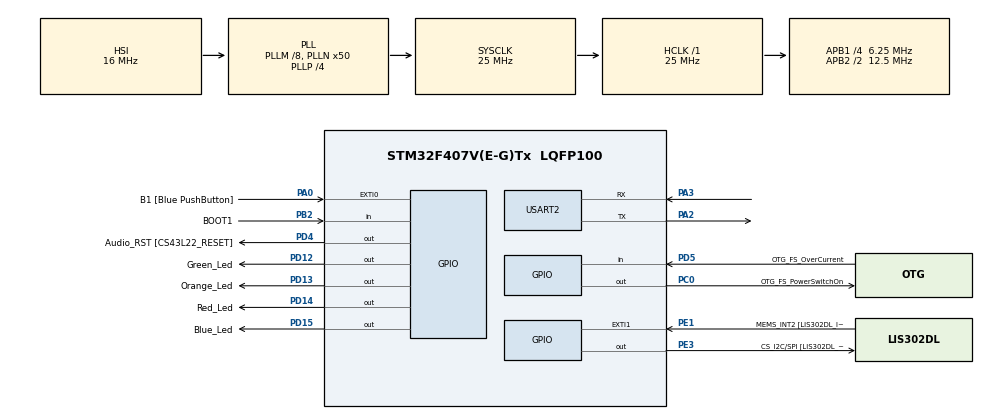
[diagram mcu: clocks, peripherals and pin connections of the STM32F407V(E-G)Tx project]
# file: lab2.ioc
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Mcu.Family=STM32F4
Mcu.Name=STM32F407V(E-G)Tx
Mcu.Package=LQFP100
NVIC.PriorityGroup=NVIC_PRIORITYGROUP_4
NVIC.TIM7_IRQn=true\:0\:0\:false\:false\:true\:false\:true\:true
NVIC.TimeBase=TIM7_IRQn
NVIC.TimeBaseIP=TIM7
PA0-WKUP.GPIO_Label=B1 [Blue PushButton]
PA0-WKUP.Signal=GPXTI0
PA10.GPIO_Label=OTG_FS_ID
PA10.GPIO_Mode=GPIO_MODE_AF_PP
PA10.GPIO_PuPd=GPIO_NOPULL
PA10.GPIO_Speed=GPIO_SPEED_FREQ_LOW
PA10.Signal=USB_OTG_FS_ID
PA11.GPIO_Label=OTG_FS_DM
PA11.GPIO_Mode=GPIO_MODE_AF_PP
PA11.GPIO_PuPd=GPIO_NOPULL
PA11.GPIO_Speed=GPIO_SPEED_FREQ_LOW
PA11.Signal=USB_OTG_FS_DM
PA12.GPIO_Label=OTG_FS_DP
PA12.GPIO_Mode=GPIO_MODE_AF_PP
PA12.GPIO_PuPd=GPIO_NOPULL
PA12.GPIO_Speed=GPIO_SPEED_FREQ_LOW
PA12.Signal=USB_OTG_FS_DP
PA13.GPIO_Label=SWDIO
PA13.Mode=Serial_Wire
PA13.Signal=SYS_JTMS-SWDIO
PA14.GPIO_Label=SWCLK
PA14.Mode=Serial_Wire
PA14.Signal=SYS_JTCK-SWCLK
PA2.Mode=Asynchronous
PA2.Signal=USART2_TX
PA3.Mode=Asynchronous
PA3.Signal=USART2_RX
PA4.GPIO_Label=I2S3_WS [CS43L22_LRCK]
PA4.GPIO_Mode=GPIO_MODE_AF_PP
PA4.GPIO_PuPd=GPIO_NOPULL
PA4.GPIO_Speed=GPIO_SPEED_FREQ_LOW
PA4.Signal=I2S3_WS
PA5.GPIO_Label=SPI1_SCK [LIS302DL_SCL/SPC]
PA5.GPIO_Mode=GPIO_MODE_AF_PP
PA5.GPIO_PuPd=GPIO_NOPULL
PA5.GPIO_Speed=GPIO_SPEED_FREQ_LOW
PA5.Signal=SPI1_SCK
PA6.GPIO_Label=SPI1_MISO [LIS302DL_SDO]
PA6.GPIO_Mode=GPIO_MODE_AF_PP
PA6.GPIO_PuPd=GPIO_NOPULL
PA6.GPIO_Speed=GPIO_SPEED_FREQ_LOW
PA6.Signal=SPI1_MISO
PA7.GPIO_Label=SPI1_MOSI [LIS302DL_SDA/SDI/SDO]
PA7.GPIO_Mode=GPIO_MODE_AF_PP
PA7.GPIO_PuPd=GPIO_NOPULL
PA7.GPIO_Speed=GPIO_SPEED_FREQ_LOW
PA7.Signal=SPI1_MOSI
PA9.GPIO_Label=VBUS_FS
PA9.GPIO_Mode=GPIO_MODE_INPUT
PA9.GPIO_PuPd=GPIO_NOPULL
PA9.Signal=USB_OTG_FS_VBUS
PB10.GPIO_Label=CLK_IN [MP45DT02_CLK]
PB10.GPIO_Mode=GPIO_MODE_AF_PP
PB10.GPIO_PuPd=GPIO_NOPULL
PB10.GPIO_Speed=GPIO_SPEED_FREQ_LOW
PB10.Signal=I2S2_CK
PB2.GPIO_Label=BOOT1
PB2.GPIO_Mode=GPIO_MODE_INPUT
PB2.GPIO_PuPd=GPIO_NOPULL
PB2.Signal=GPIO_Input
PB3.GPIO_Label=SWO
PB3.Signal=SYS_JTDO-SWO
PB6.GPIO_Label=Audio_SCL [CS43L22_SCL]
PB6.GPIO_Mode=GPIO_MODE_AF_OD
PB6.GPIO_PuPd=GPIO_NOPULL
PB6.GPIO_Speed=GPIO_SPEED_FREQ_LOW
PB6.Signal=I2C1_SCL
PB9.GPIO_Label=Audio_SDA [CS43L22_SDA]
PB9.GPIO_Mode=GPIO_MODE_AF_OD
PB9.GPIO_PuPd=GPIO_NOPULL
PB9.GPIO_Speed=GPIO_SPEED_FREQ_LOW
PB9.Signal=I2C1_SDA
PC0.GPIO_Label=OTG_FS_PowerSwitchOn
PC0.GPIO_PuPd=GPIO_NOPULL
PC0.GPIO_Speed=GPIO_SPEED_FREQ_LOW
PC0.PinState=GPIO_PIN_SET
PC0.Signal=GPIO_Output
PC10.GPIO_Label=I2S3_SCK [CS43L22_SCLK]
PC10.GPIO_Mode=GPIO_MODE_AF_PP
PC10.GPIO_PuPd=GPIO_NOPULL
PC10.GPIO_Speed=GPIO_SPEED_FREQ_LOW
PC10.Signal=I2S3_CK
PC12.GPIO_Label=I2S3_SD [CS43L22_SDIN]
PC12.GPIO_Mode=GPIO_MODE_AF_PP
PC12.GPIO_PuPd=GPIO_NOPULL
PC12.GPIO_Speed=GPIO_SPEED_FREQ_LOW
PC12.Signal=I2S3_SD
PC14-OSC32_IN.GPIO_Label=PC14-OSC32_IN
PC14-OSC32_IN.Signal=RCC_OSC32_IN
PC15-OSC32_OUT.GPIO_Label=PC15-OSC32_OUT
PC15-OSC32_OUT.Signal=RCC_OSC32_OUT
PC3.GPIO_Label=PDM_OUT [MP45DT02_DOUT]
PC3.GPIO_Mode=GPIO_MODE_AF_PP
PC3.GPIO_PuPd=GPIO_NOPULL
PC3.GPIO_Speed=GPIO_SPEED_FREQ_LOW
PC3.Signal=I2S2_SD
PC7.GPIO_Label=I2S3_MCK [CS43L22_MCLK]
PC7.GPIO_Mode=GPIO_MODE_AF_PP
PC7.GPIO_PuPd=GPIO_NOPULL
PC7.GPIO_Speed=GPIO_SPEED_FREQ_LOW
PC7.Signal=I2S3_MCK
PD12.GPIO_Label=Green_Led
PD12.GPIO_PuPd=GPIO_NOPULL
PD12.GPIO_Speed=GPIO_SPEED_FREQ_LOW
PD12.Signal=GPIO_Output
PD13.GPIO_Label=Orange_Led
PD13.GPIO_PuPd=GPIO_NOPULL
PD13.GPIO_Speed=GPIO_SPEED_FREQ_LOW
PD13.Signal=GPIO_Output
PD14.GPIO_Label=Red_Led
PD14.GPIO_PuPd=GPIO_NOPULL
PD14.GPIO_Speed=GPIO_SPEED_FREQ_LOW
PD14.Signal=GPIO_Output
PD15.GPIO_Label=Blue_Led
PD15.GPIO_PuPd=GPIO_NOPULL
PD15.GPIO_Speed=GPIO_SPEED_FREQ_LOW
PD15.Signal=GPIO_Output
PD4.GPIO_Label=Audio_RST [CS43L22_RESET]
PD4.GPIO_PuPd=GPIO_NOPULL
PD4.GPIO_Speed=GPIO_SPEED_FREQ_LOW
PD4.Signal=GPIO_Output
PD5.GPIO_Label=OTG_FS_OverCurrent
PD5.GPIO_Mode=GPIO_MODE_INPUT
PD5.GPIO_PuPd=GPIO_NOPULL
PD5.Signal=GPIO_Input
PE1.GPIO_Label=MEMS_INT2 [LIS302DL_INT2]
PE1.GPIO_ModeDefaultEXTI=GPIO_MODE_EVT_RISING
PE1.GPIO_PuPd=GPIO_NOPULL
PE1.Signal=GPXTI1
PE3.GPIO_Label=CS_I2C/SPI [LIS302DL_CS_I2C/SPI]
PE3.GPIO_PuPd=GPIO_NOPULL
PE3.GPIO_Speed=GPIO_SPEED_FREQ_LOW
PE3.Signal=GPIO_Output
PH0-OSC_IN.GPIO_Label=PH0-OSC_IN
PH0-OSC_IN.Signal=RCC_OSC_IN
PH1-OSC_OUT.GPIO_Label=PH1-OSC_OUT
PH1-OSC_OUT.Signal=RCC_OSC_OUT
ProjectManager.HeapSize=0x200
ProjectManager.StackSize=0x400
ProjectManager.TargetToolchain=STM32CubeIDE
RCC.48MHZClocksFreq_Value=14285714.285714285
RCC.AHBFreq_Value=25000000
RCC.APB1CLKDivider=RCC_HCLK_DIV4
RCC.APB1Freq_Value=6250000
RCC.APB1TimFreq_Value=12500000
RCC.APB2CLKDivider=RCC_HCLK_DIV2
RCC.APB2Freq_Value=12500000
RCC.APB2TimFreq_Value=25000000
RCC.CortexFreq_Value=25000000
RCC.HCLKFreq_Value=25000000
RCC.HSE_VALUE=8000000
RCC.HSI_VALUE=16000000
RCC.LSE_VALUE=32768
RCC.PLLM=8
RCC.PLLN=50
RCC.PLLP=RCC_PLLP_DIV4
RCC.PLLQ=7
RCC.SYSCLKFreq_VALUE=25000000
RCC.SYSCLKSource=RCC_SYSCLKSOURCE_PLLCLK
RCC.VCOOutputFreq_Value=100000000
USART2.VirtualMode=VM_ASYNC
VP_SYS_VS_tim7.Mode=TIM7
board=STM32F407G-DISC1

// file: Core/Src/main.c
/* USER CODE BEGIN Header */
/**
  ******************************************************************************
  * @file           : main.c
  * @brief          : Main program body
  ******************************************************************************
  * @attention
  *
  * Copyright (c) 2025 STMicroelectronics.
  * All rights reserved.
  *
  * This software is licensed under terms that can be found in the LICENSE file
  * in the root directory of this software component.
  * If no LICENSE file comes with this software, it is provided AS-IS.
  *
  ******************************************************************************
  */
/* USER CODE END Header */
#include "main.h"

/* USER CODE BEGIN Includes */
#include "FreeRTOS.h"
#include "task.h"
#include "string.h"
#include "stdlib.h"	// for itoa
#include "stdio.h"	// for sprintf

/* USER CODE END Includes */

UART_HandleTypeDef huart2;

void SystemClock_Config(void);
static void MX_GPIO_Init(void);
static void MX_USART2_UART_Init(void);
/* USER CODE BEGIN PFP */
void vUSART_Test(void *pvParameters);

void TaskMonitor_App(void *pvParameters);
void Red_LED_App(void *pvParameters);
void Green_LED_App(void *pvParameters);
void Delay_App(void *pvParameters);
/* USER CODE END PFP */

int main(void)
{

  /* MCU Configuration--------------------------------------------------------*/

  /* Reset of all peripherals, Initializes the Flash interface and the Systick. */
  HAL_Init();

  /* Configure the system clock */
  SystemClock_Config();

  /* Initialize all configured peripherals */
  MX_GPIO_Init();
  MX_USART2_UART_Init();
  /* USER CODE BEGIN 2 */
//  xTaskCreate(vUSART_Test, "LED", 128, NULL, 1, NULL);
  xTaskCreate(Red_LED_App, "Red_LED", 1000, NULL, 1,  NULL);
  xTaskCreate(Green_LED_App, "Green_LED", 1000, NULL, 1,  NULL);
  xTaskCreate(Delay_App, "Delay", 1000, NULL, 14,  NULL);
  xTaskCreate(TaskMonitor_App, "TaskMonitor", 1000, NULL, 3,  NULL);
  vTaskStartScheduler();
  /* USER CODE END 2 */

  /* Infinite loop */
  while (1)
  {

  }
}

void SystemClock_Config(void)
{
  RCC_OscInitTypeDef RCC_OscInitStruct = {0};
  RCC_ClkInitTypeDef RCC_ClkInitStruct = {0};

  /** Configure the main internal regulator output voltage
  */
  __HAL_RCC_PWR_CLK_ENABLE();
  __HAL_PWR_VOLTAGESCALING_CONFIG(PWR_REGULATOR_VOLTAGE_SCALE1);

  /** Initializes the RCC Oscillators according to the specified parameters
  * in the RCC_OscInitTypeDef structure.
  */
  RCC_OscInitStruct.OscillatorType = RCC_OSCILLATORTYPE_HSI;
  RCC_OscInitStruct.HSIState = RCC_HSI_ON;
  RCC_OscInitStruct.HSICalibrationValue = RCC_HSICALIBRATION_DEFAULT;
  RCC_OscInitStruct.PLL.PLLState = RCC_PLL_ON;
  RCC_OscInitStruct.PLL.PLLSource = RCC_PLLSOURCE_HSI;
  RCC_OscInitStruct.PLL.PLLM = 8;
  RCC_OscInitStruct.PLL.PLLN = 50;
  RCC_OscInitStruct.PLL.PLLP = RCC_PLLP_DIV4;
  RCC_OscInitStruct.PLL.PLLQ = 7;
  if (HAL_RCC_OscConfig(&RCC_OscInitStruct) != HAL_OK)
  {
    Error_Handler();
  }

  /** Initializes the CPU, AHB and APB buses clocks
  */
  RCC_ClkInitStruct.ClockType = RCC_CLOCKTYPE_HCLK|RCC_CLOCKTYPE_SYSCLK
                              |RCC_CLOCKTYPE_PCLK1|RCC_CLOCKTYPE_PCLK2;
  RCC_ClkInitStruct.SYSCLKSource = RCC_SYSCLKSOURCE_PLLCLK;
  RCC_ClkInitStruct.AHBCLKDivider = RCC_SYSCLK_DIV1;
  RCC_ClkInitStruct.APB1CLKDivider = RCC_HCLK_DIV4;
  RCC_ClkInitStruct.APB2CLKDivider = RCC_HCLK_DIV2;

  if (HAL_RCC_ClockConfig(&RCC_ClkInitStruct, FLASH_LATENCY_0) != HAL_OK)
  {
    Error_Handler();
  }
}

static void MX_USART2_UART_Init(void)
{

  huart2.Instance = USART2;
  huart2.Init.BaudRate = 115200;
  huart2.Init.WordLength = UART_WORDLENGTH_8B;
  huart2.Init.StopBits = UART_STOPBITS_1;
  huart2.Init.Parity = UART_PARITY_NONE;
  huart2.Init.Mode = UART_MODE_TX_RX;
  huart2.Init.HwFlowCtl = UART_HWCONTROL_NONE;
  huart2.Init.OverSampling = UART_OVERSAMPLING_16;
  if (HAL_UART_Init(&huart2) != HAL_OK)
  {
    Error_Handler();
  }

}

static void MX_GPIO_Init(void)
{
  GPIO_InitTypeDef GPIO_InitStruct = {0};

  /* GPIO Ports Clock Enable */
  __HAL_RCC_GPIOE_CLK_ENABLE();
  __HAL_RCC_GPIOC_CLK_ENABLE();
  __HAL_RCC_GPIOH_CLK_ENABLE();
  __HAL_RCC_GPIOA_CLK_ENABLE();
  __HAL_RCC_GPIOB_CLK_ENABLE();
  __HAL_RCC_GPIOD_CLK_ENABLE();

  /*Configure GPIO pin Output Level */
  HAL_GPIO_WritePin(CS_I2C_SPI_GPIO_Port, CS_I2C_SPI_Pin, GPIO_PIN_RESET);

  /*Configure GPIO pin Output Level */
  HAL_GPIO_WritePin(OTG_FS_PowerSwitchOn_GPIO_Port, OTG_FS_PowerSwitchOn_Pin, GPIO_PIN_SET);

  /*Configure GPIO pin Output Level */
  HAL_GPIO_WritePin(GPIOD, Green_Led_Pin|Orange_Led_Pin|Red_Led_Pin|Blue_Led_Pin
                          |Audio_RST_Pin, GPIO_PIN_RESET);

  /*Configure GPIO pin : CS_I2C_SPI_Pin */
  GPIO_InitStruct.Pin = CS_I2C_SPI_Pin;
  GPIO_InitStruct.Mode = GPIO_MODE_OUTPUT_PP;
  GPIO_InitStruct.Pull = GPIO_NOPULL;
  GPIO_InitStruct.Speed = GPIO_SPEED_FREQ_LOW;
  HAL_GPIO_Init(CS_I2C_SPI_GPIO_Port, &GPIO_InitStruct);

  /*Configure GPIO pin : OTG_FS_PowerSwitchOn_Pin */
  GPIO_InitStruct.Pin = OTG_FS_PowerSwitchOn_Pin;
  GPIO_InitStruct.Mode = GPIO_MODE_OUTPUT_PP;
  GPIO_InitStruct.Pull = GPIO_NOPULL;
  GPIO_InitStruct.Speed = GPIO_SPEED_FREQ_LOW;
  HAL_GPIO_Init(OTG_FS_PowerSwitchOn_GPIO_Port, &GPIO_InitStruct);

  /*Configure GPIO pin : PDM_OUT_Pin */
  GPIO_InitStruct.Pin = PDM_OUT_Pin;
  GPIO_InitStruct.Mode = GPIO_MODE_AF_PP;
  GPIO_InitStruct.Pull = GPIO_NOPULL;
  GPIO_InitStruct.Speed = GPIO_SPEED_FREQ_LOW;
  GPIO_InitStruct.Alternate = GPIO_AF5_SPI2;
  HAL_GPIO_Init(PDM_OUT_GPIO_Port, &GPIO_InitStruct);

  /*Configure GPIO pin : B1_Pin */
  GPIO_InitStruct.Pin = B1_Pin;
  GPIO_InitStruct.Mode = GPIO_MODE_IT_RISING;
  GPIO_InitStruct.Pull = GPIO_NOPULL;
  HAL_GPIO_Init(B1_GPIO_Port, &GPIO_InitStruct);

  /*Configure GPIO pin : I2S3_WS_Pin */
  GPIO_InitStruct.Pin = I2S3_WS_Pin;
  GPIO_InitStruct.Mode = GPIO_MODE_AF_PP;
  GPIO_InitStruct.Pull = GPIO_NOPULL;
  GPIO_InitStruct.Speed = GPIO_SPEED_FREQ_LOW;
  GPIO_InitStruct.Alternate = GPIO_AF6_SPI3;
  HAL_GPIO_Init(I2S3_WS_GPIO_Port, &GPIO_InitStruct);

  /*Configure GPIO pins : SPI1_SCK_Pin SPI1_MISO_Pin SPI1_MOSI_Pin */
  GPIO_InitStruct.Pin = SPI1_SCK_Pin|SPI1_MISO_Pin|SPI1_MOSI_Pin;
  GPIO_InitStruct.Mode = GPIO_MODE_AF_PP;
  GPIO_InitStruct.Pull = GPIO_NOPULL;
  GPIO_InitStruct.Speed = GPIO_SPEED_FREQ_LOW;
  GPIO_InitStruct.Alternate = GPIO_AF5_SPI1;
  HAL_GPIO_Init(GPIOA, &GPIO_InitStruct);

  /*Configure GPIO pin : BOOT1_Pin */
  GPIO_InitStruct.Pin = BOOT1_Pin;
  GPIO_InitStruct.Mode = GPIO_MODE_INPUT;
  GPIO_InitStruct.Pull = GPIO_NOPULL;
  HAL_GPIO_Init(BOOT1_GPIO_Port, &GPIO_InitStruct);

  /*Configure GPIO pin : CLK_IN_Pin */
  GPIO_InitStruct.Pin = CLK_IN_Pin;
  GPIO_InitStruct.Mode = GPIO_MODE_AF_PP;
  GPIO_InitStruct.Pull = GPIO_NOPULL;
  GPIO_InitStruct.Speed = GPIO_SPEED_FREQ_LOW;
  GPIO_InitStruct.Alternate = GPIO_AF5_SPI2;
  HAL_GPIO_Init(CLK_IN_GPIO_Port, &GPIO_InitStruct);

  /*Configure GPIO pins : Green_Led_Pin Orange_Led_Pin Red_Led_Pin Blue_Led_Pin
                           Audio_RST_Pin */
  GPIO_InitStruct.Pin = Green_Led_Pin|Orange_Led_Pin|Red_Led_Pin|Blue_Led_Pin
                          |Audio_RST_Pin;
  GPIO_InitStruct.Mode = GPIO_MODE_OUTPUT_PP;
  GPIO_InitStruct.Pull = GPIO_NOPULL;
  GPIO_InitStruct.Speed = GPIO_SPEED_FREQ_LOW;
  HAL_GPIO_Init(GPIOD, &GPIO_InitStruct);

  /*Configure GPIO pins : I2S3_MCK_Pin I2S3_SCK_Pin I2S3_SD_Pin */
  GPIO_InitStruct.Pin = I2S3_MCK_Pin|I2S3_SCK_Pin|I2S3_SD_Pin;
  GPIO_InitStruct.Mode = GPIO_MODE_AF_PP;
  GPIO_InitStruct.Pull = GPIO_NOPULL;
  GPIO_InitStruct.Speed = GPIO_SPEED_FREQ_LOW;
  GPIO_InitStruct.Alternate = GPIO_AF6_SPI3;
  HAL_GPIO_Init(GPIOC, &GPIO_InitStruct);

  /*Configure GPIO pin : VBUS_FS_Pin */
  GPIO_InitStruct.Pin = VBUS_FS_Pin;
  GPIO_InitStruct.Mode = GPIO_MODE_INPUT;
  GPIO_InitStruct.Pull = GPIO_NOPULL;
  HAL_GPIO_Init(VBUS_FS_GPIO_Port, &GPIO_InitStruct);

  /*Configure GPIO pins : OTG_FS_ID_Pin OTG_FS_DM_Pin OTG_FS_DP_Pin */
  GPIO_InitStruct.Pin = OTG_FS_ID_Pin|OTG_FS_DM_Pin|OTG_FS_DP_Pin;
  GPIO_InitStruct.Mode = GPIO_MODE_AF_PP;
  GPIO_InitStruct.Pull = GPIO_NOPULL;
  GPIO_InitStruct.Speed = GPIO_SPEED_FREQ_LOW;
  GPIO_InitStruct.Alternate = GPIO_AF10_OTG_FS;
  HAL_GPIO_Init(GPIOA, &GPIO_InitStruct);

  /*Configure GPIO pin : OTG_FS_OverCurrent_Pin */
  GPIO_InitStruct.Pin = OTG_FS_OverCurrent_Pin;
  GPIO_InitStruct.Mode = GPIO_MODE_INPUT;
  GPIO_InitStruct.Pull = GPIO_NOPULL;
  HAL_GPIO_Init(OTG_FS_OverCurrent_GPIO_Port, &GPIO_InitStruct);

  /*Configure GPIO pins : Audio_SCL_Pin Audio_SDA_Pin */
  GPIO_InitStruct.Pin = Audio_SCL_Pin|Audio_SDA_Pin;
  GPIO_InitStruct.Mode = GPIO_MODE_AF_OD;
  GPIO_InitStruct.Pull = GPIO_NOPULL;
  GPIO_InitStruct.Speed = GPIO_SPEED_FREQ_LOW;
  GPIO_InitStruct.Alternate = GPIO_AF4_I2C1;
  HAL_GPIO_Init(GPIOB, &GPIO_InitStruct);

  /*Configure GPIO pin : MEMS_INT2_Pin */
  GPIO_InitStruct.Pin = MEMS_INT2_Pin;
  GPIO_InitStruct.Mode = GPIO_MODE_EVT_RISING;
  GPIO_InitStruct.Pull = GPIO_NOPULL;
  HAL_GPIO_Init(MEMS_INT2_GPIO_Port, &GPIO_InitStruct);

}

/* USER CODE BEGIN 4 */
void TaskMonitor_App(void *pvParameters){
    for(;;){
        Taskmonitor();
        vTaskDelay(1000);
    }
}

void Red_LED_App(void *pvParameters){
    uint32_t Redtimer = 800;
    for(;;){
        HAL_GPIO_TogglePin(GPIOD,Red_Led_Pin);
        vTaskDelay(Redtimer);
        Redtimer+=1;
    }
}

void Green_LED_App(void *pvParameters){
    uint32_t Greentimer = 1000;
    for(;;){
        HAL_GPIO_TogglePin(GPIOD,Green_Led_Pin);
        vTaskDelay(Greentimer);
        Greentimer+=2;
    }
}

void Delay_App(void *pvParameters){
    int delayflag=0;
    uint32_t delaytime;
    while(1){
        if(delayflag==0){
            delaytime = 1000;
            delayflag=1;
        }else{
            delaytime=0xFFFFFFFF;
        }
        vTaskDelay(delaytime);
    }
}

void vUSART_Test(void *pvParameters) {
    uint32_t Monitortimer = 400;
    char MonitorTest[30];
    char num[15];
    int i = 0;
    while (1) {
        memset(MonitorTest, '\0', sizeof(MonitorTest));
        memset(num, '\0', sizeof(num));
        itoa(i, num, 10);
        strcat(num, " ");
        sprintf(MonitorTest, "The point is %s\n\r", num);
        HAL_UART_Transmit(&huart2, (uint8_t *) MonitorTest, strlen(MonitorTest), 0xffff);
        vTaskDelay(Monitortimer);
        Monitortimer += 1;
        i += 1;
    }
}

/* USER CODE END 4 */

void HAL_TIM_PeriodElapsedCallback(TIM_HandleTypeDef *htim)
{
  if (htim->Instance == TIM7)
  {
    HAL_IncTick();
  }
}

void Error_Handler(void)
{
  __disable_irq();
  while (1)
  {
  }
}
